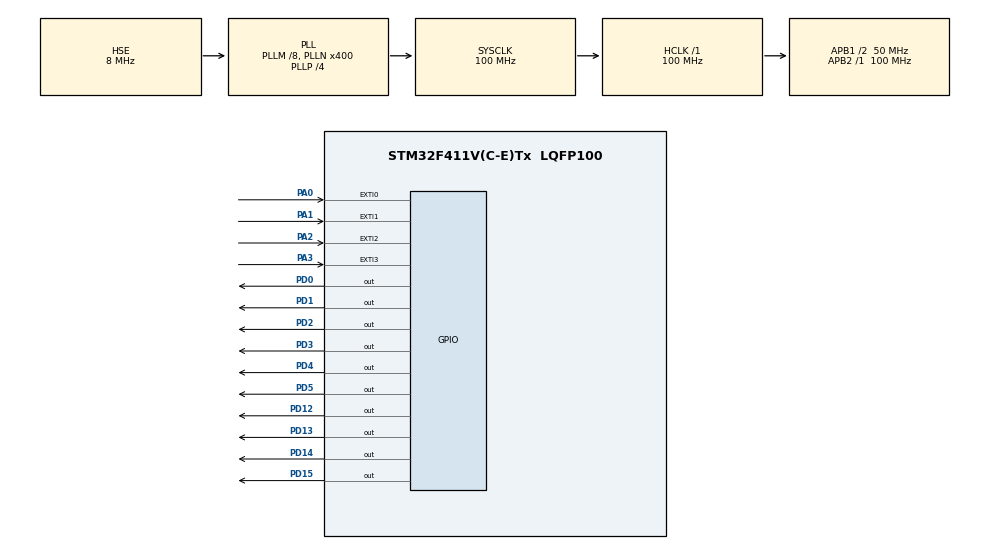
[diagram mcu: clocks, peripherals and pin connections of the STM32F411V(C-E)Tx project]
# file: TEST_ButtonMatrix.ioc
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Mcu.Family=STM32F4
Mcu.Name=STM32F411V(C-E)Tx
Mcu.Package=LQFP100
NVIC.EXTI0_IRQn=true\:0\:0\:false\:false\:true\:true\:true
NVIC.EXTI1_IRQn=true\:0\:0\:false\:false\:true\:true\:true
NVIC.EXTI2_IRQn=true\:0\:0\:false\:false\:true\:true\:true
NVIC.EXTI3_IRQn=true\:0\:0\:false\:false\:true\:true\:true
NVIC.PriorityGroup=NVIC_PRIORITYGROUP_4
NVIC.TIM1_UP_TIM10_IRQn=true\:0\:0\:false\:false\:true\:false\:true
NVIC.TimeBase=TIM1_UP_TIM10_IRQn
NVIC.TimeBaseIP=TIM1
PA0-WKUP.GPIO_ModeDefaultEXTI=GPIO_MODE_IT_RISING_FALLING
PA0-WKUP.GPIO_PuPd=GPIO_PULLUP
PA0-WKUP.Signal=GPXTI0
PA1.GPIO_ModeDefaultEXTI=GPIO_MODE_IT_RISING_FALLING
PA1.GPIO_PuPd=GPIO_PULLUP
PA1.Signal=GPXTI1
PA13.Mode=Serial_Wire
PA13.Signal=SYS_JTMS-SWDIO
PA14.Mode=Serial_Wire
PA14.Signal=SYS_JTCK-SWCLK
PA2.GPIO_ModeDefaultEXTI=GPIO_MODE_IT_RISING_FALLING
PA2.GPIO_PuPd=GPIO_PULLUP
PA2.Signal=GPXTI2
PA3.GPIO_ModeDefaultEXTI=GPIO_MODE_IT_RISING_FALLING
PA3.GPIO_PuPd=GPIO_PULLUP
PA3.Signal=GPXTI3
PD0.GPIO_Speed=GPIO_SPEED_FREQ_HIGH
PD0.Signal=GPIO_Output
PD1.GPIO_Speed=GPIO_SPEED_FREQ_HIGH
PD1.Signal=GPIO_Output
PD12.GPIO_ModeDefaultOutputPP=GPIO_MODE_OUTPUT_PP
PD12.GPIO_PuPd=GPIO_NOPULL
PD12.GPIO_Speed=GPIO_SPEED_FREQ_HIGH
PD12.PinState=GPIO_PIN_RESET
PD12.Signal=GPIO_Output
PD13.GPIO_ModeDefaultOutputPP=GPIO_MODE_OUTPUT_PP
PD13.GPIO_PuPd=GPIO_NOPULL
PD13.GPIO_Speed=GPIO_SPEED_FREQ_HIGH
PD13.PinState=GPIO_PIN_RESET
PD13.Signal=GPIO_Output
PD14.GPIO_ModeDefaultOutputPP=GPIO_MODE_OUTPUT_PP
PD14.GPIO_PuPd=GPIO_NOPULL
PD14.GPIO_Speed=GPIO_SPEED_FREQ_HIGH
PD14.PinState=GPIO_PIN_RESET
PD14.Signal=GPIO_Output
PD15.GPIO_ModeDefaultOutputPP=GPIO_MODE_OUTPUT_PP
PD15.GPIO_PuPd=GPIO_NOPULL
PD15.GPIO_Speed=GPIO_SPEED_FREQ_HIGH
PD15.PinState=GPIO_PIN_RESET
PD15.Signal=GPIO_Output
PD2.GPIO_Speed=GPIO_SPEED_FREQ_HIGH
PD2.Signal=GPIO_Output
PD3.GPIO_Speed=GPIO_SPEED_FREQ_HIGH
PD3.Signal=GPIO_Output
PD4.GPIO_Speed=GPIO_SPEED_FREQ_HIGH
PD4.Signal=GPIO_Output
PD5.GPIO_Speed=GPIO_SPEED_FREQ_HIGH
PD5.Signal=GPIO_Output
PH0\ -\ OSC_IN.Mode=HSE-External-Oscillator
PH0\ -\ OSC_IN.Signal=RCC_OSC_IN
PH1\ -\ OSC_OUT.Mode=HSE-External-Oscillator
PH1\ -\ OSC_OUT.Signal=RCC_OSC_OUT
ProjectManager.HeapSize=0x200
ProjectManager.StackSize=0x400
ProjectManager.TargetToolchain=Makefile
RCC.48MHZClocksFreq_Value=100000000
RCC.AHBFreq_Value=100000000
RCC.APB1CLKDivider=RCC_HCLK_DIV2
RCC.APB1Freq_Value=50000000
RCC.APB1TimFreq_Value=100000000
RCC.APB2Freq_Value=100000000
RCC.APB2TimFreq_Value=100000000
RCC.CortexFreq_Value=100000000
RCC.HCLKFreq_Value=100000000
RCC.HSE_VALUE=8000000
RCC.HSI_VALUE=16000000
RCC.LSE_VALUE=32768
RCC.PLLM=8
RCC.PLLN=400
RCC.PLLP=RCC_PLLP_DIV4
RCC.PLLSourceVirtual=RCC_PLLSOURCE_HSE
RCC.SYSCLKFreq_VALUE=100000000
RCC.SYSCLKSource=RCC_SYSCLKSOURCE_PLLCLK
RCC.VCOOutputFreq_Value=400000000
VP_SYS_VS_tim1.Mode=TIM1
board=custom

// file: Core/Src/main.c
/* USER CODE BEGIN Header */
/**
  ******************************************************************************
  * @file           : main.c
  * @brief          : Main program body
  ******************************************************************************
  * @attention
  *
  * <h2><center>&copy; Copyright (c) 2021 STMicroelectronics.
  * All rights reserved.</center></h2>
  *
  * This software component is licensed by ST under BSD 3-Clause license,
  * the "License"; You may not use this file except in compliance with the
  * License. You may obtain a copy of the License at:
  *                        opensource.org/licenses/BSD-3-Clause
  *
  ******************************************************************************
  */
/* USER CODE END Header */
#include "main.h"

/* USER CODE BEGIN PD */

//  4x6 button matrix

#define RowPort GPIOD
#define ColPort GPIOA

#define Row1Pin GPIO_PIN_0
#define Row2Pin GPIO_PIN_1
#define Row3Pin GPIO_PIN_2
#define Row4Pin GPIO_PIN_3
#define Row5Pin GPIO_PIN_4
#define Row6Pin GPIO_PIN_5

#define Col1Pin GPIO_PIN_0
#define Col2Pin GPIO_PIN_1
#define Col3Pin GPIO_PIN_2
#define Col4Pin GPIO_PIN_3

#define Pressing    1
#define Releasing   0

/* USER CODE END PD */

void SystemClock_Config(void);
static void MX_GPIO_Init(void);
/* USER CODE BEGIN PFP */

uint32_t readButton(void);
void scanRow(uint8_t Col, uint16_t ColPin, uint32_t* mask);
buttonPushEvent pushEventHandler(uint32_t* mask, uint16_t GPIO_Pin);
buttonReleaseEvent releaseEventHandler(uint32_t* mask, uint16_t GPIO_Pin);
buttonPushEvent p_pushFunc = pushEventHandler;
buttonReleaseEvent p_releaseFunc = releaseEventHandler;

void clearGPIO_EXTI(void);
void setGPIO_EXTI(void);

/* USER CODE END PFP */

/* USER CODE BEGIN 0 */

uint32_t gButtonMatrixMask = 0;

/* USER CODE END 0 */

int main(void)
{

  /* MCU Configuration--------------------------------------------------------*/

  /* Reset of all peripherals, Initializes the Flash interface and the Systick. */
  HAL_Init();

  /* Configure the system clock */
  SystemClock_Config();

  /* Initialize all configured peripherals */
  MX_GPIO_Init();
  /* USER CODE BEGIN 2 */

	uint32_t buttonMatrixMask = 0;

  buttonMatrixMask = readButton();

  /* USER CODE END 2 */

  /* Infinite loop */
  while (1)
  {

    /* USER CODE BEGIN 3 */
    HAL_GPIO_TogglePin(GPIOD, GPIO_PIN_13);
    HAL_Delay(2000);

  }
  /* USER CODE END 3 */
}

void SystemClock_Config(void)
{
  RCC_OscInitTypeDef RCC_OscInitStruct = {0};
  RCC_ClkInitTypeDef RCC_ClkInitStruct = {0};

  /** Configure the main internal regulator output voltage
  */
  __HAL_RCC_PWR_CLK_ENABLE();
  __HAL_PWR_VOLTAGESCALING_CONFIG(PWR_REGULATOR_VOLTAGE_SCALE1);
  /** Initializes the RCC Oscillators according to the specified parameters
  * in the RCC_OscInitTypeDef structure.
  */
  RCC_OscInitStruct.OscillatorType = RCC_OSCILLATORTYPE_HSE;
  RCC_OscInitStruct.HSEState = RCC_HSE_ON;
  RCC_OscInitStruct.PLL.PLLState = RCC_PLL_ON;
  RCC_OscInitStruct.PLL.PLLSource = RCC_PLLSOURCE_HSE;
  RCC_OscInitStruct.PLL.PLLM = 8;
  RCC_OscInitStruct.PLL.PLLN = 400;
  RCC_OscInitStruct.PLL.PLLP = RCC_PLLP_DIV4;
  RCC_OscInitStruct.PLL.PLLQ = 4;
  if (HAL_RCC_OscConfig(&RCC_OscInitStruct) != HAL_OK)
  {
    Error_Handler();
  }
  /** Initializes the CPU, AHB and APB buses clocks
  */
  RCC_ClkInitStruct.ClockType = RCC_CLOCKTYPE_HCLK|RCC_CLOCKTYPE_SYSCLK
                              |RCC_CLOCKTYPE_PCLK1|RCC_CLOCKTYPE_PCLK2;
  RCC_ClkInitStruct.SYSCLKSource = RCC_SYSCLKSOURCE_PLLCLK;
  RCC_ClkInitStruct.AHBCLKDivider = RCC_SYSCLK_DIV1;
  RCC_ClkInitStruct.APB1CLKDivider = RCC_HCLK_DIV2;
  RCC_ClkInitStruct.APB2CLKDivider = RCC_HCLK_DIV1;

  if (HAL_RCC_ClockConfig(&RCC_ClkInitStruct, FLASH_LATENCY_3) != HAL_OK)
  {
    Error_Handler();
  }
}

static void MX_GPIO_Init(void)
{
  GPIO_InitTypeDef GPIO_InitStruct = {0};

  /* GPIO Ports Clock Enable */
  __HAL_RCC_GPIOH_CLK_ENABLE();
  __HAL_RCC_GPIOA_CLK_ENABLE();
  __HAL_RCC_GPIOD_CLK_ENABLE();

  /*Configure GPIO pin Output Level */
  HAL_GPIO_WritePin(GPIOD, GPIO_PIN_12|GPIO_PIN_13|GPIO_PIN_14|GPIO_PIN_15
                          |GPIO_PIN_0|GPIO_PIN_1|GPIO_PIN_2|GPIO_PIN_3
                          |GPIO_PIN_4|GPIO_PIN_5, GPIO_PIN_RESET);

  /*Configure GPIO pins : PA0 PA1 PA2 PA3 */
  GPIO_InitStruct.Pin = GPIO_PIN_0|GPIO_PIN_1|GPIO_PIN_2|GPIO_PIN_3;
  GPIO_InitStruct.Mode = GPIO_MODE_IT_RISING_FALLING;
  GPIO_InitStruct.Pull = GPIO_PULLUP;
  HAL_GPIO_Init(GPIOA, &GPIO_InitStruct);

  /*Configure GPIO pins : PD12 PD13 PD14 PD15
                          PD0 PD1 PD2 PD3
                          PD4 PD5 */
  GPIO_InitStruct.Pin = GPIO_PIN_12|GPIO_PIN_13|GPIO_PIN_14|GPIO_PIN_15
                          |GPIO_PIN_0|GPIO_PIN_1|GPIO_PIN_2|GPIO_PIN_3
                          |GPIO_PIN_4|GPIO_PIN_5;
  GPIO_InitStruct.Mode = GPIO_MODE_OUTPUT_PP;
  GPIO_InitStruct.Pull = GPIO_NOPULL;
  GPIO_InitStruct.Speed = GPIO_SPEED_FREQ_HIGH;
  HAL_GPIO_Init(GPIOD, &GPIO_InitStruct);

  /* EXTI interrupt init*/
  HAL_NVIC_SetPriority(EXTI0_IRQn, 0, 0);
  HAL_NVIC_EnableIRQ(EXTI0_IRQn);

  HAL_NVIC_SetPriority(EXTI1_IRQn, 0, 0);
  HAL_NVIC_EnableIRQ(EXTI1_IRQn);

  HAL_NVIC_SetPriority(EXTI2_IRQn, 0, 0);
  HAL_NVIC_EnableIRQ(EXTI2_IRQn);

  HAL_NVIC_SetPriority(EXTI3_IRQn, 0, 0);
  HAL_NVIC_EnableIRQ(EXTI3_IRQn);

  HAL_GPIO_WritePin(RowPort, Row1Pin|Row2Pin|Row3Pin|Row4Pin|Row5Pin|Row6Pin, 0);

}

/* USER CODE BEGIN 4 */

void clearGPIO_EXTI(void)
{
  EXTI->FTSR &= ~(15UL << 0);   //disable all falling & raising edge EXTI enable bit
  EXTI->RTSR &= ~(15UL << 0);
}

void setGPIO_EXTI(void)
{
  EXTI->FTSR |= (15UL << 0);
  EXTI->RTSR |= (15UL << 0);
}

uint32_t readButton(void)
{
  clearGPIO_EXTI();
  uint32_t MaskBit = 0;

  HAL_GPIO_WritePin(RowPort, Row1Pin|Row2Pin|Row3Pin|Row4Pin|Row5Pin|Row6Pin, 0);

  uint8_t CheckCol = 0;
  CheckCol =    ((uint8_t)!HAL_GPIO_ReadPin(ColPort, Col1Pin) << 0) |
                ((uint8_t)!HAL_GPIO_ReadPin(ColPort, Col2Pin) << 1) |
                ((uint8_t)!HAL_GPIO_ReadPin(ColPort, Col3Pin) << 2) |
                ((uint8_t)!HAL_GPIO_ReadPin(ColPort, Col4Pin) << 3);

  if(CheckCol == 0)
  {
    setGPIO_EXTI();
    return MaskBit;    //No button press
  }
  else    //something happen, figgure it out!
  {
    if(CheckCol & 0b0001) //col1
    {
      scanRow(1, Col1Pin, &MaskBit);
    }
    if(CheckCol & 0b0010) //col2
    {
      scanRow(2, Col2Pin, &MaskBit);
    }
    if(CheckCol & 0b0100) //col3
    {
      scanRow(3, Col3Pin, &MaskBit);
    }
    if(CheckCol & 0b1000) //col4
    {
      scanRow(4, Col4Pin, &MaskBit);
    }
  }
  setGPIO_EXTI();
  return MaskBit;
}

void scanRow(uint8_t Col, uint16_t ColPin, uint32_t* mask)
{
  HAL_GPIO_WritePin(RowPort, Row1Pin, 0);
  HAL_GPIO_WritePin(RowPort, Row2Pin|Row3Pin|Row4Pin|Row5Pin|Row6Pin, 1);
  if(!HAL_GPIO_ReadPin(ColPort, ColPin))
  {
    *mask |= (1UL << (Col-1));
  }
  HAL_GPIO_WritePin(RowPort, Row2Pin, 0);
  HAL_GPIO_WritePin(RowPort, Row1Pin|Row3Pin|Row4Pin|Row5Pin|Row6Pin, 1);
  if(!HAL_GPIO_ReadPin(ColPort, ColPin))
  {
    *mask |= (1UL << (Col + 3));
  }
  HAL_GPIO_WritePin(RowPort, Row3Pin, 0);
  HAL_GPIO_WritePin(RowPort, Row1Pin|Row2Pin|Row4Pin|Row5Pin|Row6Pin, 1);
  if(!HAL_GPIO_ReadPin(ColPort, ColPin))
  {
    *mask |= (1UL << (Col + 7));
  }
  HAL_GPIO_WritePin(RowPort, Row4Pin, 0);
  HAL_GPIO_WritePin(RowPort, Row1Pin|Row2Pin|Row3Pin|Row5Pin|Row6Pin, 1);
  if(!HAL_GPIO_ReadPin(ColPort, ColPin))
  {
    *mask |= (1UL << (Col + 11));
  }
  HAL_GPIO_WritePin(RowPort, Row5Pin, 0);
  HAL_GPIO_WritePin(RowPort, Row1Pin|Row2Pin|Row3Pin|Row4Pin|Row6Pin, 1);
  if(!HAL_GPIO_ReadPin(ColPort, ColPin))
  {
    *mask |= (1UL << (Col + 15));
  }
  HAL_GPIO_WritePin(RowPort, Row6Pin, 0);
  HAL_GPIO_WritePin(RowPort, Row1Pin|Row2Pin|Row3Pin|Row4Pin|Row5Pin, 1);
  if(!HAL_GPIO_ReadPin(ColPort, ColPin))
  {
    *mask |= (1UL << (Col + 19));
  }

  HAL_GPIO_WritePin(RowPort, Row1Pin|Row2Pin|Row3Pin|Row4Pin|Row5Pin|Row6Pin, 0);
}

void HAL_GPIO_EXTI_Callback(uint16_t GPIO_Pin)
{
  for(int i = 0; i < 10000000; i++) {}
  clearGPIO_EXTI();
  EXTI->PR &= ~(uint32_t)0;
  if(HAL_GPIO_ReadPin(ColPort, GPIO_Pin) == SET)
  {
    p_releaseFunc(&gButtonMatrixMask, GPIO_Pin);
  }
  else
  {
    p_pushFunc(&gButtonMatrixMask, GPIO_Pin);
  }
}

buttonPushEvent pushEventHandler(uint32_t* mask, uint16_t GPIO_Pin)
{
  uint8_t nCol = 0;
  if (GPIO_Pin == Col1Pin)       {nCol = 1;}
  else if (GPIO_Pin == Col2Pin)  {nCol = 2;}
  else if (GPIO_Pin == Col3Pin)  {nCol = 3;}
  else if (GPIO_Pin == Col4Pin)  {nCol = 4;}

  scanRow(nCol, GPIO_Pin, &gButtonMatrixMask);
  setGPIO_EXTI();

}

buttonReleaseEvent releaseEventHandler(uint32_t* mask, uint16_t GPIO_Pin)
{
  uint8_t nCol = 0;
  if (GPIO_Pin == Col1Pin)       {nCol = 1;}
  else if (GPIO_Pin == Col2Pin)  {nCol = 2;}
  else if (GPIO_Pin == Col3Pin)  {nCol = 3;}
  else if (GPIO_Pin == Col4Pin)  {nCol = 4;}

  for(int i = 0; i < 24; i += 4)
  {
    if(*mask & (1UL << (nCol - 1 + i)))
    {
      *mask &= ~(1UL << (nCol - 1 + i));
    }
  }
  setGPIO_EXTI();
}

/* USER CODE END 4 */

void HAL_TIM_PeriodElapsedCallback(TIM_HandleTypeDef *htim)
{
  if (htim->Instance == TIM1)
  {
    HAL_IncTick();
  }
}

void Error_Handler(void)
{
  __disable_irq();
  while (1)
  {
  }
}

/************************ (C) COPYRIGHT STMicroelectronics *****END OF FILE****/
